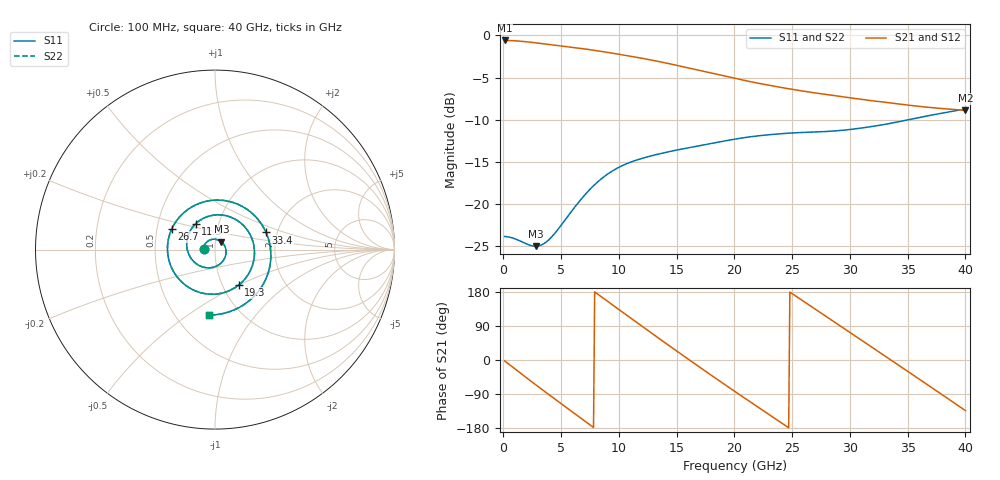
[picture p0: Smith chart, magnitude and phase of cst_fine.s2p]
! D_s8_stitch_2p0: L1 (ref L2) → L8 (ref L7), one GND via at 2 mm
! stackup: 8-layer 1.6 mm FR-4 (generic)
! ports: 1, 2
! CST Studio Suite 2025.5 Release from 2025-05-30, time domain (FIT, hexahedral, PBA), 620928 mesh cells, 91 s
! mesh: {'lpw': 30.0, 'lpb': 30.0, 'minstep': 0.0, 'ratio': 20}; ports: port 1 (face); port 2 (face)
! interpolated from CST's 1001 samples to the case grid
# Hz S RI R 50
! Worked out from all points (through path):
!   400 points, 100 MHz to 40 GHz, reference 50 ohm
!   highest |S21| = -0.59 dB at 100 MHz (marker M1); lowest = -8.9 dB at 40 GHz (marker M2)
!   group delay of S21, straight-line fit = 58.8 ps
!   lowest |S11| = -25.0 dB at 2.8 GHz (marker M3), VSWR 1.12, Z = 53.5 + j4.68 ohm
!   |S11| at or under -10 dB: start of sweep to 35.07 GHz
!   |S22| runs from -25.0 to -8.7 dB; largest |S21 - S12| = 3.5e-07
!   S11 on the Smith chart (normalised r, x): 100 MHz: 0.88, +0.01; 11.3 GHz: 0.78, +0.23; 19.3 GHz: 1.19, -0.50; 26.7 GHz: 0.60, +0.15; 33.4 GHz: 1.75, +0.37; 40 GHz: 0.72, -0.61
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1e8  -0.0639 0.00481  0.9333 -0.0386  0.9333 -0.0386  -0.0639 0.00481
1.3e9  -0.0332 0.051  0.7971 -0.4727  0.7971 -0.4727  -0.0332 0.051
2.8e9  0.0354 0.0436  0.3755 -0.8228  0.3755 -0.8228  0.0354 0.0436
4.7e9  0.0558 -0.0429  -0.2772 -0.8263  -0.2772 -0.8263  0.0558 -0.0429
6.8e9  -0.037 -0.1017  -0.7622 -0.344  -0.7622 -0.344  -0.037 -0.1017
8.8e9  -0.1432 -0.0323  -0.7479 0.2776  -0.7479 0.2776  -0.1432 -0.0323
1.01e10  -0.154 0.0632  -0.5048 0.5832  -0.5048 0.5832  -0.154 0.0632
1.13e10  -0.1073 0.1445  -0.1863 0.7233  -0.1863 0.7233  -0.1073 0.1445
1.34e10  0.0525 0.1905  0.3681 0.5975  0.3681 0.5975  0.0525 0.1905
1.48e10  0.1557 0.1372  0.5916 0.3139  0.5916 0.3139  0.1557 0.1372
1.61e10  0.2115 0.0439  0.6399 0.000114  0.6399 0.000114  0.2115 0.0439
1.78e10  0.2057 -0.0963  0.4865 -0.3553  0.4865 -0.3553  0.2057 -0.0963
1.93e10  0.1324 -0.1973  0.2171 -0.528  0.2171 -0.528  0.1324 -0.1973
2.01e10  0.0736 -0.2316  0.0552 -0.5523  0.0552 -0.5523  0.0735 -0.2316
2.16e10  -0.0543 -0.2456  -0.2253 -0.4778  -0.2253 -0.4778  -0.0543 -0.2456
2.35e10  -0.1996 -0.1657  -0.4495 -0.2169  -0.4495 -0.2169  -0.1996 -0.1657
2.5e10  -0.2603 -0.0432  -0.4772 0.041  -0.4772 0.041  -0.2603 -0.0432
2.67e10  -0.2407 0.1155  -0.3539 0.2926  -0.3539 0.2926  -0.2407 0.1155
2.97e10  -0.00931 0.2751  0.0824 0.4216  0.0824 0.4216  -0.00931 0.2751
3.34e10  0.2843 0.0954  0.398 0.0211  0.398 0.0211  0.2843 0.0954
3.69e10  0.2437 -0.2301  0.134 -0.3492  0.134 -0.3492  0.2438 -0.2301
4e10  -0.0316 -0.3646  -0.2477 -0.26  -0.2477 -0.26  -0.0316 -0.3646
